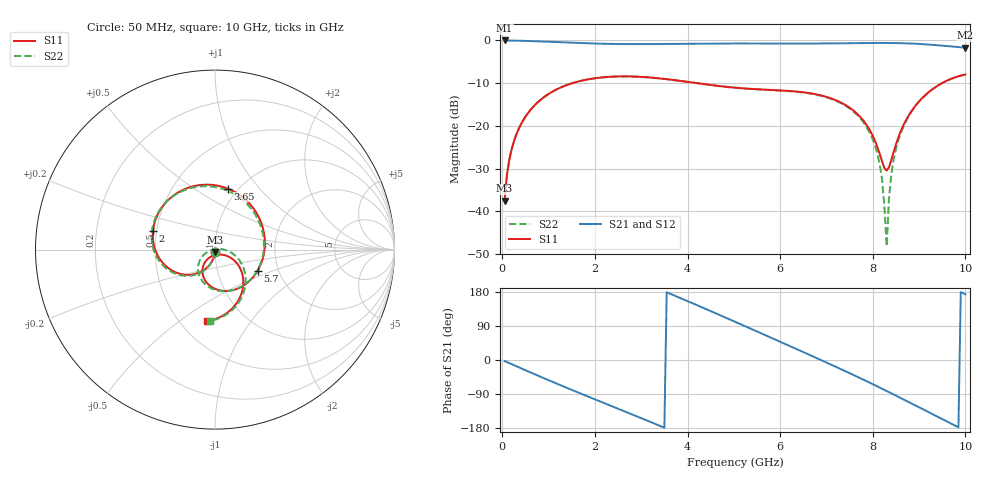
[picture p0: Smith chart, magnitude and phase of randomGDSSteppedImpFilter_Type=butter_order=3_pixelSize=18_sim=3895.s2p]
! freq	dB(S11)	phase(S11)	dB(S12)	phase(S12)
!  dB(S21)	phase(S21)	dB(S22)	phase(S22)
!S-par simulation data
#  GHz  S  DB  R 50
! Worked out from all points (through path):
!   200 points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, 50 MHz to 10 GHz, reference 50 ohm
!   highest |S21| = 0.00 dB at 50 MHz (marker M1); lowest = -1.7 dB at 10 GHz (marker M2)
!   group delay of S21, straight-line fit = 150 ps
!   lowest |S11| = -37.5 dB at 50 MHz (marker M3), VSWR 1.03, Z = 49.9 - j1.33 ohm
!   |S11| at or under -10 dB: start of sweep to 1.512 GHz; 4.205 GHz to 9.493 GHz (5.288 GHz wide, 77.2 % of centre)
!   |S22| runs from -48.1 to -8.0 dB; largest |S21 - S12| = 0
!   S11 on the Smith chart (normalised r, x): 50 MHz: 1.00, -0.03; 2 GHz: 0.48, +0.12; 3.65 GHz: 0.90, +0.69; 5.7 GHz: 1.56, -0.39; 10 GHz: 0.67, -0.64
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0.05  -37.50 -92.6  -0.00 -2.8  -0.00 -2.8  -37.50 -92.5
0.2  -25.55 -101.3  -0.03 -10.9  -0.03 -10.9  -25.54 -100.8
0.5  -17.84 -118.1  -0.11 -27.0  -0.11 -27.0  -17.84 -116.9
1.15  -11.58 -153.2  -0.39 -61.1  -0.39 -61.1  -11.58 -150.2
1.75  -9.33 175.6  -0.65 -91.4  -0.65 -91.4  -9.33 -179.7
2  -8.85 162.9  -0.74 -103.8  -0.74 -103.8  -8.85 168.3
2.75  -8.42 124.7  -0.86 -140.9  -0.86 -140.9  -8.42 132.4
3.4  -8.88 91.1  -0.84 -173.6  -0.84 -173.6  -8.89 100.8
3.65  -9.19 78.1  -0.81 173.6  -0.81 173.6  -9.20 88.3
4.3  -10.14 44.2  -0.75 139.6  -0.75 139.6  -10.15 55.0
5.05  -11.08 6.0  -0.71 99.6  -0.71 99.6  -11.10 14.4
5.7  -11.53 -26.2  -0.72 64.5  -0.72 64.5  -11.56 -22.1
6.7  -12.45 -75.1  -0.73 10.0  -0.73 10.0  -12.52 -79.0
7.3  -14.46 -104.2  -0.67 -23.4  -0.67 -23.4  -14.60 -113.2
7.95  -21.28 -128.6  -0.59 -60.8  -0.59 -60.8  -21.92 -151.9
8.2  -28.27 -112.4  -0.58 -75.7  -0.58 -75.7  -32.52 -170.8
8.3  -30.45 -78.3  -0.59 -81.7  -0.59 -81.7  -48.13 76.5
8.35  -29.69 -58.4  -0.59 -84.7  -0.59 -84.7  -36.97 15.6
8.5  -24.33 -30.4  -0.61 -93.9  -0.61 -93.9  -25.40 -1.0
8.8  -17.13 -31.3  -0.71 -112.4  -0.71 -112.4  -17.29 -20.9
9.4  -10.59 -61.2  -1.12 -149.8  -1.12 -149.8  -10.62 -58.1
10  -7.96 -96.2  -1.70 173.2  -1.70 173.2  -7.98 -94.1
